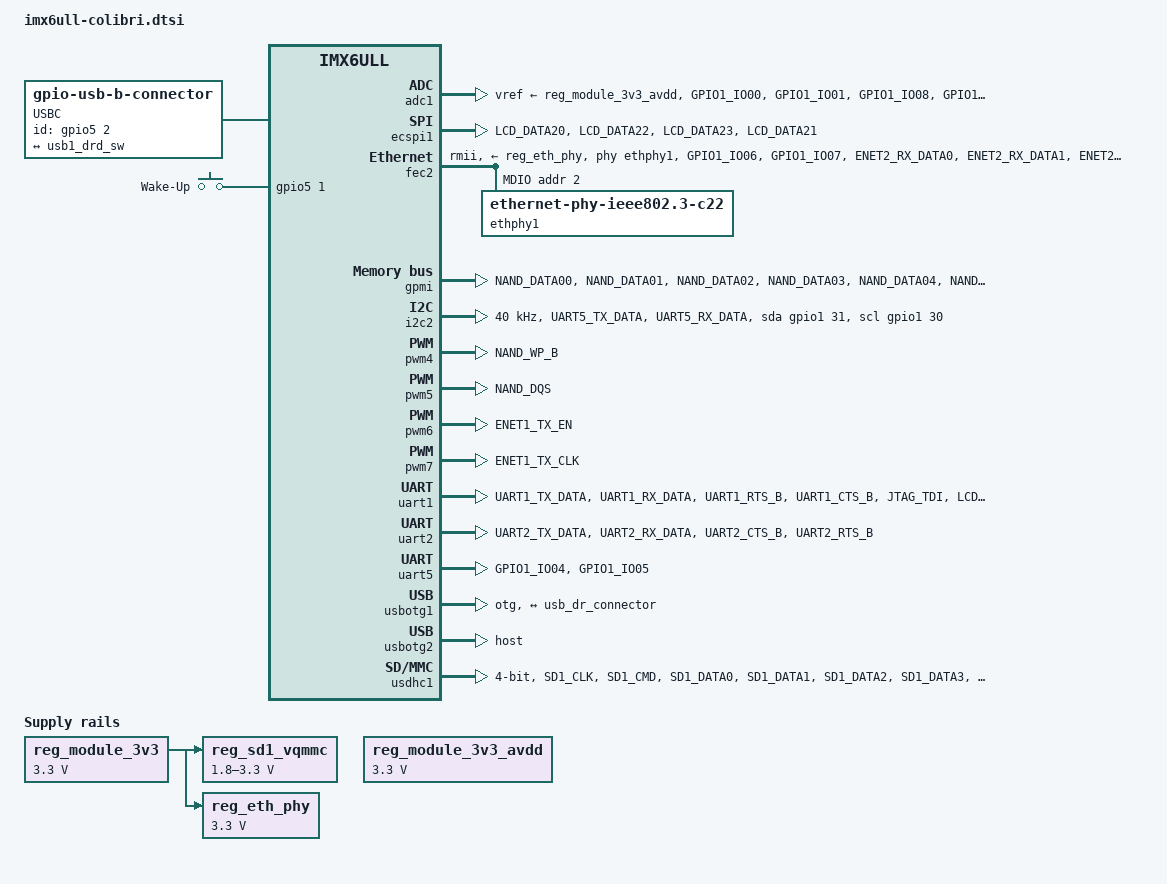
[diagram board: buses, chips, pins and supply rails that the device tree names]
// SPDX-License-Identifier: GPL-2.0-or-later OR MIT
/*
 * Copyright 2018-2022 Toradex
 */

#include "imx6ull.dtsi"

/ {
	/* Ethernet aliases to ensure correct MAC addresses */
	aliases {
		ethernet0 = &fec2;
		ethernet1 = &fec1;
	};

	backlight: backlight {
		compatible = "pwm-backlight";
		brightness-levels = <0 4 8 16 32 64 128 255>;
		default-brightness-level = <6>;
		enable-gpios = <&gpio1 11 GPIO_ACTIVE_HIGH>;
		pinctrl-names = "default";
		pinctrl-0 = <&pinctrl_gpio_bl_on>;
		power-supply = <&reg_3v3>;
		pwms = <&pwm4 0 5000000 1>;
		status = "disabled";
	};

	connector {
		compatible = "gpio-usb-b-connector", "usb-b-connector";
		pinctrl-names = "default";
		pinctrl-0 = <&pinctrl_snvs_usbc_det>;
		id-gpios = <&gpio5 2 GPIO_ACTIVE_HIGH>; /* SODIMM 137 / USBC_DET */
		label = "USBC";
		self-powered;
		type = "micro";

		ports {
			#address-cells = <1>;
			#size-cells = <0>;

			port@0 {
				reg = <0>;
				usb_dr_connector: endpoint {
					remote-endpoint = <&usb1_drd_sw>;
				};
			};
		};
	};

	gpio-keys {
		compatible = "gpio-keys";
		pinctrl-names = "default";
		pinctrl-0 = <&pinctrl_snvs_gpiokeys>;

		key-wakeup {
			debounce-interval = <10>;
			gpios = <&gpio5 1 (GPIO_ACTIVE_HIGH | GPIO_PULL_DOWN)>; /* SODIMM 45 */
			label = "Wake-Up";
			linux,code = <KEY_WAKEUP>;
			wakeup-source;
		};
	};

	panel_dpi: panel-dpi {
		compatible = "edt,et057090dhu";
		backlight = <&backlight>;
		power-supply = <&reg_3v3>;
		status = "disabled";

		port {
			lcd_panel_in: endpoint {
				remote-endpoint = <&lcdif_out>;
			};
		};
	};

	reg_module_3v3: regulator-module-3v3 {
		compatible = "regulator-fixed";
		regulator-always-on;
		regulator-name = "+V3.3";
		regulator-min-microvolt = <3300000>;
		regulator-max-microvolt = <3300000>;
	};

	reg_module_3v3_avdd: regulator-module-3v3-avdd {
		compatible = "regulator-fixed";
		regulator-always-on;
		regulator-name = "+V3.3_AVDD_AUDIO";
		regulator-min-microvolt = <3300000>;
		regulator-max-microvolt = <3300000>;
	};

	reg_sd1_vqmmc: regulator-sd1-vqmmc {
		compatible = "regulator-gpio";
		gpios = <&gpio5 9 GPIO_ACTIVE_HIGH>;
		pinctrl-names = "default";
		pinctrl-0 = <&pinctrl_snvs_reg_sd>;
		regulator-always-on;
		regulator-name = "+V3.3_1.8_SD";
		regulator-min-microvolt = <1800000>;
		regulator-max-microvolt = <3300000>;
		states = <1800000 0x1 3300000 0x0>;
		vin-supply = <&reg_module_3v3>;
	};

	reg_eth_phy: regulator-eth-phy {
		compatible = "regulator-fixed-clock";
		regulator-boot-on;
		regulator-min-microvolt = <3300000>;
		regulator-max-microvolt = <3300000>;
		regulator-name = "+V3.3_ETH";
		regulator-type = "voltage";
		vin-supply = <&reg_module_3v3>;
		clocks = <&clks IMX6UL_CLK_ENET2_REF_125M>;
		startup-delay-us = <150000>;
	};
};

&adc1 {
	vref-supply = <&reg_module_3v3_avdd>;
	pinctrl-names = "default";
	pinctrl-0 = <&pinctrl_adc1>;
};

&can1 {
	pinctrl-names = "default";
	pinctrl-0 = <&pinctrl_flexcan1>;
	status = "disabled";
};

&can2 {
	pinctrl-names = "default";
	pinctrl-0 = <&pinctrl_flexcan2>;
	status = "disabled";
};

/* Colibri SPI */
&ecspi1 {
	cs-gpios = <&gpio3 26 GPIO_ACTIVE_LOW>;
	pinctrl-names = "default";
	pinctrl-0 = <&pinctrl_ecspi1 &pinctrl_ecspi1_cs>;
};

/* Ethernet */
&fec2 {
	pinctrl-names = "default", "sleep";
	pinctrl-0 = <&pinctrl_enet2>;
	pinctrl-1 = <&pinctrl_enet2_sleep>;
	phy-mode = "rmii";
	phy-handle = <&ethphy1>;
	phy-supply = <&reg_eth_phy>;
	status = "okay";

	mdio {
		#address-cells = <1>;
		#size-cells = <0>;

		ethphy1: ethernet-phy@2 {
			compatible = "ethernet-phy-ieee802.3-c22";
			max-speed = <100>;
			reg = <2>;
		};
	};
};

/* NAND */
&gpmi {
	pinctrl-names = "default";
	pinctrl-0 = <&pinctrl_gpmi_nand>;
	fsl,use-minimum-ecc;
	nand-on-flash-bbt;
	nand-ecc-mode = "hw";
	nand-ecc-strength = <8>;
	nand-ecc-step-size = <512>;
	status = "okay";
};

/* I2C3_SDA/SCL on SODIMM 194/196 (e.g. RTC on carrier board) */
&i2c1 {
	pinctrl-names = "default", "gpio";
	pinctrl-0 = <&pinctrl_i2c1>;
	pinctrl-1 = <&pinctrl_i2c1_gpio>;
	sda-gpios = <&gpio1 29 (GPIO_ACTIVE_HIGH | GPIO_OPEN_DRAIN)>;
	scl-gpios = <&gpio1 28 (GPIO_ACTIVE_HIGH | GPIO_OPEN_DRAIN)>;
	status = "disabled";

	/* Atmel maxtouch controller */
	atmel_mxt_ts: touchscreen@4a {
		compatible = "atmel,maxtouch";
		pinctrl-names = "default";
		pinctrl-0 = <&pinctrl_atmel_conn &pinctrl_atmel_snvs_conn>;
		reg = <0x4a>;
		interrupt-parent = <&gpio5>;
		interrupts = <4 IRQ_TYPE_EDGE_FALLING>;       /* SODIMM 107 / INT */
		reset-gpios = <&gpio1 10 GPIO_ACTIVE_LOW>;    /* SODIMM 106 / RST */
		status = "disabled";
	};
};

/*
 * PWR_I2C: power I2C to audio codec, PMIC, temperature sensor and
 * touch screen controller
 */
&i2c2 {
	/* Use low frequency to compensate for the high pull-up values. */
	clock-frequency = <40000>;
	pinctrl-names = "default", "gpio";
	pinctrl-0 = <&pinctrl_i2c2>;
	pinctrl-1 = <&pinctrl_i2c2_gpio>;
	sda-gpios = <&gpio1 31 (GPIO_ACTIVE_HIGH | GPIO_OPEN_DRAIN)>;
	scl-gpios = <&gpio1 30 (GPIO_ACTIVE_HIGH | GPIO_OPEN_DRAIN)>;
	status = "okay";

	ad7879_ts: touchscreen@2c {
		compatible = "adi,ad7879-1";
		pinctrl-names = "default";
		pinctrl-0 = <&pinctrl_snvs_ad7879_int>;
		reg = <0x2c>;
		interrupt-parent = <&gpio5>;
		interrupts = <7 IRQ_TYPE_EDGE_FALLING>;
		touchscreen-max-pressure = <4096>;
		adi,resistance-plate-x = <120>;
		adi,first-conversion-delay = /bits/ 8 <3>;
		adi,acquisition-time = /bits/ 8 <1>;
		adi,median-filter-size = /bits/ 8 <2>;
		adi,averaging = /bits/ 8 <1>;
		adi,conversion-interval = /bits/ 8 <255>;
		status = "disabled";
	};
};

&lcdif {
	pinctrl-names = "default";
	pinctrl-0 = <&pinctrl_lcdif_dat
		     &pinctrl_lcdif_ctrl>;
	status = "disabled";

	port {
		lcdif_out: endpoint {
			remote-endpoint = <&lcd_panel_in>;
		};
	};
};

/* PWM <A> */
&pwm4 {
	pinctrl-names = "default";
	pinctrl-0 = <&pinctrl_pwm4>;
};

/* PWM <B> */
&pwm5 {
	pinctrl-names = "default";
	pinctrl-0 = <&pinctrl_pwm5>;
};

/* PWM <C> */
&pwm6 {
	pinctrl-names = "default";
	pinctrl-0 = <&pinctrl_pwm6>;
};

/* PWM <D> */
&pwm7 {
	pinctrl-names = "default";
	pinctrl-0 = <&pinctrl_pwm7>;
};

&sdma {
	status = "okay";
};

&snvs_pwrkey {
	status = "disabled";
};

/* Colibri UART_A */
&uart1 {
	pinctrl-names = "default";
	pinctrl-0 = <&pinctrl_uart1 &pinctrl_uart1_ctrl1>;
	uart-has-rtscts;
	fsl,dte-mode;
};

/* Colibri UART_B */
&uart2 {
	pinctrl-names = "default";
	pinctrl-0 = <&pinctrl_uart2>;
	uart-has-rtscts;
	fsl,dte-mode;
};

/* Colibri UART_C */
&uart5 {
	pinctrl-names = "default";
	pinctrl-0 = <&pinctrl_uart5>;
	fsl,dte-mode;
};

/* Colibri USBC */
&usbotg1 {
	dr_mode = "otg";
	srp-disable;
	hnp-disable;
	adp-disable;
	usb-role-switch;

	port {
		usb1_drd_sw: endpoint {
			remote-endpoint = <&usb_dr_connector>;
		};
	};
};

/* Colibri USBH */
&usbotg2 {
	dr_mode = "host";
};

/* Colibri MMC/SD */
&usdhc1 {
	pinctrl-names = "default", "state_100mhz", "state_200mhz", "sleep";
	pinctrl-0 = <&pinctrl_usdhc1 &pinctrl_snvs_usdhc1_cd>;
	pinctrl-1 = <&pinctrl_usdhc1_100mhz &pinctrl_snvs_usdhc1_cd>;
	pinctrl-2 = <&pinctrl_usdhc1_200mhz &pinctrl_snvs_usdhc1_cd>;
	pinctrl-3 = <&pinctrl_usdhc1 &pinctrl_snvs_usdhc1_cd_sleep>;
	assigned-clocks = <&clks IMX6UL_CLK_USDHC1_SEL>, <&clks IMX6UL_CLK_USDHC1>;
	assigned-clock-parents = <&clks IMX6UL_CLK_PLL2_PFD2>;
	assigned-clock-rates = <0>, <198000000>;
	bus-width = <4>;
	cd-gpios = <&gpio5 0 GPIO_ACTIVE_LOW>; /* MMC_CD */
	disable-wp;
	keep-power-in-suspend;
	no-1-8-v;
	vqmmc-supply = <&reg_sd1_vqmmc>;
	wakeup-source;
};

&wdog1 {
	pinctrl-names = "default";
	pinctrl-0 = <&pinctrl_wdog>;
	fsl,ext-reset-output;
};

&iomuxc {
	pinctrl_adc1: adc1grp {
		fsl,pins = <
			MX6UL_PAD_GPIO1_IO00__GPIO1_IO00        0x3000 /* SODIMM 8 */
			MX6UL_PAD_GPIO1_IO01__GPIO1_IO01        0x3000 /* SODIMM 6 */
			MX6UL_PAD_GPIO1_IO08__GPIO1_IO08        0x3000 /* SODIMM 4 */
			MX6UL_PAD_GPIO1_IO09__GPIO1_IO09        0x3000 /* SODIMM 2 */
		>;
	};

	pinctrl_atmel_adap: atmeladapgrp {
		fsl,pins = <
			MX6UL_PAD_NAND_DQS__GPIO4_IO16          0xb0a0  /* SODIMM 28 */
			MX6UL_PAD_ENET1_TX_EN__GPIO2_IO05       0xb0a0  /* SODIMM 30 */
		>;
	};

	pinctrl_atmel_conn: atmelconngrp {
		fsl,pins = <
			MX6UL_PAD_JTAG_MOD__GPIO1_IO10          0xb0a0  /* SODIMM 106 */
		>;
	};

	pinctrl_can_int: canintgrp {
		fsl,pins = <
			MX6UL_PAD_ENET1_TX_DATA1__GPIO2_IO04	0x13010	/* SODIMM 73 */
		>;
	};

	pinctrl_enet2: enet2grp {
		fsl,pins = <
			MX6UL_PAD_GPIO1_IO06__ENET2_MDIO	0x1b0b0
			MX6UL_PAD_GPIO1_IO07__ENET2_MDC		0x1b0b0
			MX6UL_PAD_ENET2_RX_DATA0__ENET2_RDATA00	0x1b0b0
			MX6UL_PAD_ENET2_RX_DATA1__ENET2_RDATA01	0x1b0b0
			MX6UL_PAD_ENET2_RX_EN__ENET2_RX_EN	0x1b0b0
			MX6UL_PAD_ENET2_RX_ER__ENET2_RX_ER	0x1b0b0
			MX6UL_PAD_ENET2_TX_CLK__ENET2_REF_CLK2	0x4001b031
			MX6UL_PAD_ENET2_TX_DATA0__ENET2_TDATA00	0x1b0b0
			MX6UL_PAD_ENET2_TX_DATA1__ENET2_TDATA01	0x1b0b0
			MX6UL_PAD_ENET2_TX_EN__ENET2_TX_EN	0x1b0b0
		>;
	};

	pinctrl_enet2_sleep: enet2-sleepgrp {
		fsl,pins = <
			MX6UL_PAD_GPIO1_IO06__GPIO1_IO06	0x0
			MX6UL_PAD_GPIO1_IO07__GPIO1_IO07	0x0
			MX6UL_PAD_ENET2_RX_DATA0__GPIO2_IO08	0x0
			MX6UL_PAD_ENET2_RX_DATA1__GPIO2_IO09	0x0
			MX6UL_PAD_ENET2_RX_EN__GPIO2_IO10	0x0
			MX6UL_PAD_ENET2_RX_ER__GPIO2_IO15	0x0
			MX6UL_PAD_ENET2_TX_CLK__ENET2_REF_CLK2	0x4001b031
			MX6UL_PAD_ENET2_TX_DATA0__GPIO2_IO11	0x0
			MX6UL_PAD_ENET2_TX_DATA1__GPIO2_IO12	0x0
			MX6UL_PAD_ENET2_TX_EN__GPIO2_IO13	0x0
		>;
	};

	pinctrl_ecspi1_cs: ecspi1csgrp {
		fsl,pins = <
			MX6UL_PAD_LCD_DATA21__GPIO3_IO26	0x70a0	/* SODIMM 86 */
		>;
	};

	pinctrl_ecspi1: ecspi1grp {
		fsl,pins = <
			MX6UL_PAD_LCD_DATA20__ECSPI1_SCLK	0x000a0	/* SODIMM 88 */
			MX6UL_PAD_LCD_DATA22__ECSPI1_MOSI	0x000a0 /* SODIMM 92 */
			MX6UL_PAD_LCD_DATA23__ECSPI1_MISO	0x100a0 /* SODIMM 90 */
		>;
	};

	pinctrl_flexcan1: flexcan1grp {
		fsl,pins = <
			MX6UL_PAD_ENET1_RX_DATA0__FLEXCAN1_TX	0x1b020
			MX6UL_PAD_ENET1_RX_DATA1__FLEXCAN1_RX	0x1b020
		>;
	};

	pinctrl_flexcan2: flexcan2grp {
		fsl,pins = <
			MX6UL_PAD_ENET1_TX_DATA0__FLEXCAN2_RX	0x1b020
			MX6UL_PAD_ENET1_RX_EN__FLEXCAN2_TX	0x1b020
		>;
	};

	pinctrl_gpio_bl_on: gpioblongrp {
		fsl,pins = <
			MX6UL_PAD_JTAG_TMS__GPIO1_IO11		0x30a0	/* SODIMM 71 */
		>;
	};

	pinctrl_gpio1: gpio1grp {
		fsl,pins = <
			MX6UL_PAD_UART3_RX_DATA__GPIO1_IO25	0x10b0 /* SODIMM 77 */
			MX6UL_PAD_JTAG_TCK__GPIO1_IO14		0x70a0 /* SODIMM 99 */
			MX6UL_PAD_NAND_CE1_B__GPIO4_IO14	0x10b0 /* SODIMM 133 */
			MX6UL_PAD_UART3_TX_DATA__GPIO1_IO24	0x10b0 /* SODIMM 135 */
			MX6UL_PAD_UART3_CTS_B__GPIO1_IO26	0x10b0 /* SODIMM 100 */
			MX6UL_PAD_JTAG_TRST_B__GPIO1_IO15	0x70a0 /* SODIMM 102 */
			MX6UL_PAD_ENET1_RX_ER__GPIO2_IO07	0x10b0 /* SODIMM 104 */
			MX6UL_PAD_UART3_RTS_B__GPIO1_IO27	0x10b0 /* SODIMM 186 */
		>;
	};

	pinctrl_gpio2: gpio2grp { /* Camera */
		fsl,pins = <
			MX6UL_PAD_CSI_DATA04__GPIO4_IO25	0x10b0 /* SODIMM 69 */
			MX6UL_PAD_CSI_MCLK__GPIO4_IO17		0x10b0 /* SODIMM 75 */
			MX6UL_PAD_CSI_DATA06__GPIO4_IO27	0x10b0 /* SODIMM 85 */
			MX6UL_PAD_CSI_PIXCLK__GPIO4_IO18	0x10b0 /* SODIMM 96 */
			MX6UL_PAD_CSI_DATA05__GPIO4_IO26	0x10b0 /* SODIMM 98 */
		>;
	};

	pinctrl_gpio3: gpio3grp { /* CAN2 */
		fsl,pins = <
			MX6UL_PAD_ENET1_RX_EN__GPIO2_IO02	0x10b0 /* SODIMM 178 */
			MX6UL_PAD_ENET1_TX_DATA0__GPIO2_IO03	0x10b0 /* SODIMM 188 */
		>;
	};

	pinctrl_gpio4: gpio4grp {
		fsl,pins = <
			MX6UL_PAD_CSI_DATA07__GPIO4_IO28	0x10b0 /* SODIMM 65 */
		>;
	};

	pinctrl_gpio6: gpio6grp { /* Wifi pins */
		fsl,pins = <
			MX6UL_PAD_GPIO1_IO03__GPIO1_IO03	0x10b0 /* SODIMM 89 */
			MX6UL_PAD_CSI_DATA02__GPIO4_IO23	0x10b0 /* SODIMM 79 */
			MX6UL_PAD_CSI_VSYNC__GPIO4_IO19		0x10b0 /* SODIMM 81 */
			MX6UL_PAD_CSI_DATA03__GPIO4_IO24	0x10b0 /* SODIMM 97 */
			MX6UL_PAD_CSI_DATA00__GPIO4_IO21	0x10b0 /* SODIMM 101 */
			MX6UL_PAD_CSI_DATA01__GPIO4_IO22	0x10b0 /* SODIMM 103 */
			MX6UL_PAD_CSI_HSYNC__GPIO4_IO20		0x10b0 /* SODIMM 94 */
		>;
	};

	pinctrl_gpio7: gpio7grp { /* CAN1 */
		fsl,pins = <
			MX6UL_PAD_ENET1_RX_DATA0__GPIO2_IO00	0xb0b0/* SODIMM 55 */
			MX6UL_PAD_ENET1_RX_DATA1__GPIO2_IO01	0xb0b0 /* SODIMM 63 */
		>;
	};

	/*
	 * With an eMMC instead of a raw NAND device the following pins
	 * are available at SODIMM pins.
	 */
	pinctrl_gpmi_gpio: gpmigpiogrp {
		fsl,pins = <
			MX6UL_PAD_NAND_ALE__GPIO4_IO10		0x10b0 /* SODIMM 140 */
			MX6UL_PAD_NAND_CE0_B__GPIO4_IO13	0x10b0 /* SODIMM 144 */
			MX6UL_PAD_NAND_CLE__GPIO4_IO15		0x10b0 /* SODIMM 146 */
			MX6UL_PAD_NAND_READY_B__GPIO4_IO12	0x10b0 /* SODIMM 142 */
		>;
	};

	pinctrl_gpmi_nand: gpminandgrp {
		fsl,pins = <
			MX6UL_PAD_NAND_DATA00__RAWNAND_DATA00	0x100a9
			MX6UL_PAD_NAND_DATA01__RAWNAND_DATA01	0x100a9
			MX6UL_PAD_NAND_DATA02__RAWNAND_DATA02	0x100a9
			MX6UL_PAD_NAND_DATA03__RAWNAND_DATA03	0x100a9
			MX6UL_PAD_NAND_DATA04__RAWNAND_DATA04	0x100a9
			MX6UL_PAD_NAND_DATA05__RAWNAND_DATA05	0x100a9
			MX6UL_PAD_NAND_DATA06__RAWNAND_DATA06	0x100a9
			MX6UL_PAD_NAND_DATA07__RAWNAND_DATA07	0x100a9
			MX6UL_PAD_NAND_CLE__RAWNAND_CLE		0x100a9
			MX6UL_PAD_NAND_ALE__RAWNAND_ALE		0x100a9
			MX6UL_PAD_NAND_RE_B__RAWNAND_RE_B	0x100a9
			MX6UL_PAD_NAND_WE_B__RAWNAND_WE_B	0x100a9
			MX6UL_PAD_NAND_CE0_B__RAWNAND_CE0_B	0x100a9
			MX6UL_PAD_NAND_READY_B__RAWNAND_READY_B	0x100a9
		>;
	};

	pinctrl_i2c1: i2c1grp {
		fsl,pins = <
			MX6UL_PAD_UART4_TX_DATA__I2C1_SCL 0x4001b8b0	/* SODIMM 196 */
			MX6UL_PAD_UART4_RX_DATA__I2C1_SDA 0x4001b8b0	/* SODIMM 194 */
		>;
	};

	pinctrl_i2c1_gpio: i2c1-gpiogrp {
		fsl,pins = <
			MX6UL_PAD_UART4_TX_DATA__GPIO1_IO28 0x4001b8b0	/* SODIMM 196 */
			MX6UL_PAD_UART4_RX_DATA__GPIO1_IO29 0x4001b8b0	/* SODIMM 194 */
		>;
	};

	pinctrl_i2c2: i2c2grp {
		fsl,pins = <
			MX6UL_PAD_UART5_TX_DATA__I2C2_SCL 0x4001f8b0
			MX6UL_PAD_UART5_RX_DATA__I2C2_SDA 0x4001f8b0
		>;
	};

	pinctrl_i2c2_gpio: i2c2-gpiogrp {
		fsl,pins = <
			MX6UL_PAD_UART5_TX_DATA__GPIO1_IO30 0x4001f8b0
			MX6UL_PAD_UART5_RX_DATA__GPIO1_IO31 0x4001f8b0
		>;
	};

	pinctrl_lcdif_dat: lcdifdatgrp {
		fsl,pins = <
			MX6UL_PAD_LCD_DATA00__LCDIF_DATA00 0x00079	/* SODIMM 76 */
			MX6UL_PAD_LCD_DATA01__LCDIF_DATA01 0x00079	/* SODIMM 70 */
			MX6UL_PAD_LCD_DATA02__LCDIF_DATA02 0x00079	/* SODIMM 60 */
			MX6UL_PAD_LCD_DATA03__LCDIF_DATA03 0x00079	/* SODIMM 58 */
			MX6UL_PAD_LCD_DATA04__LCDIF_DATA04 0x00079	/* SODIMM 78 */
			MX6UL_PAD_LCD_DATA05__LCDIF_DATA05 0x00079	/* SODIMM 72 */
			MX6UL_PAD_LCD_DATA06__LCDIF_DATA06 0x00079	/* SODIMM 80 */
			MX6UL_PAD_LCD_DATA07__LCDIF_DATA07 0x00079	/* SODIMM 46 */
			MX6UL_PAD_LCD_DATA08__LCDIF_DATA08 0x00079	/* SODIMM 62 */
			MX6UL_PAD_LCD_DATA09__LCDIF_DATA09 0x00079	/* SODIMM 48 */
			MX6UL_PAD_LCD_DATA10__LCDIF_DATA10 0x00079	/* SODIMM 74 */
			MX6UL_PAD_LCD_DATA11__LCDIF_DATA11 0x00079	/* SODIMM 50 */
			MX6UL_PAD_LCD_DATA12__LCDIF_DATA12 0x00079	/* SODIMM 52 */
			MX6UL_PAD_LCD_DATA13__LCDIF_DATA13 0x00079	/* SODIMM 54 */
			MX6UL_PAD_LCD_DATA14__LCDIF_DATA14 0x00079	/* SODIMM 66 */
			MX6UL_PAD_LCD_DATA15__LCDIF_DATA15 0x00079	/* SODIMM 64 */
			MX6UL_PAD_LCD_DATA16__LCDIF_DATA16 0x00079	/* SODIMM 57 */
			MX6UL_PAD_LCD_DATA17__LCDIF_DATA17 0x00079	/* SODIMM 61 */
		>;
	};

	pinctrl_lcdif_ctrl: lcdifctrlgrp {
		fsl,pins = <
			MX6UL_PAD_LCD_CLK__LCDIF_CLK	    0x00079	/* SODIMM 56 */
			MX6UL_PAD_LCD_ENABLE__LCDIF_ENABLE  0x00079	/* SODIMM 44 */
			MX6UL_PAD_LCD_HSYNC__LCDIF_HSYNC    0x00079	/* SODIMM 68 */
			MX6UL_PAD_LCD_VSYNC__LCDIF_VSYNC    0x00079	/* SODIMM 82 */
		>;
	};

	pinctrl_pwm4: pwm4grp {
		fsl,pins = <
			MX6UL_PAD_NAND_WP_B__PWM4_OUT	0x00079		/* SODIMM 59 */
		>;
	};

	pinctrl_pwm5: pwm5grp {
		fsl,pins = <
			MX6UL_PAD_NAND_DQS__PWM5_OUT	0x00079		/* SODIMM 28 */
		>;
	};

	pinctrl_pwm6: pwm6grp {
		fsl,pins = <
			MX6UL_PAD_ENET1_TX_EN__PWM6_OUT	0x00079		/* SODIMM 30 */
		>;
	};

	pinctrl_pwm7: pwm7grp {
		fsl,pins = <
			MX6UL_PAD_ENET1_TX_CLK__PWM7_OUT	0x00079	/* SODIMM 67 */
		>;
	};

	pinctrl_uart1: uart1grp {
		fsl,pins = <
			MX6UL_PAD_UART1_TX_DATA__UART1_DTE_RX	0x1b0b1	/* SODIMM 33 */
			MX6UL_PAD_UART1_RX_DATA__UART1_DTE_TX	0x1b0b1	/* SODIMM 35 */
			MX6UL_PAD_UART1_RTS_B__UART1_DTE_CTS	0x1b0b1	/* SODIMM 27 */
			MX6UL_PAD_UART1_CTS_B__UART1_DTE_RTS	0x1b0b1	/* SODIMM 25 */
		>;
	};

	pinctrl_uart1_ctrl1: uart1ctrl1grp { /* Additional DTR, DCD */
		fsl,pins = <
			MX6UL_PAD_JTAG_TDI__GPIO1_IO13		0x70a0 /* SODIMM 31 / DCD */
			MX6UL_PAD_LCD_DATA18__GPIO3_IO23	0x10b0 /* SODIMM 29 / DSR */
			MX6UL_PAD_JTAG_TDO__GPIO1_IO12		0x90b1 /* SODIMM 23 / DTR */
			MX6UL_PAD_LCD_DATA19__GPIO3_IO24        0x10b0 /* SODIMM 37 / RI */
		>;
	};

	pinctrl_uart2: uart2grp {
		fsl,pins = <
			MX6UL_PAD_UART2_TX_DATA__UART2_DTE_RX	0x1b0b1 /* SODIMM 36 */
			MX6UL_PAD_UART2_RX_DATA__UART2_DTE_TX	0x1b0b1 /* SODIMM 38 */
			MX6UL_PAD_UART2_CTS_B__UART2_DTE_RTS	0x1b0b1 /* SODIMM 32 */
			MX6UL_PAD_UART2_RTS_B__UART2_DTE_CTS	0x1b0b1 /* SODIMM 34 */
		>;
	};
	pinctrl_uart5: uart5grp {
		fsl,pins = <
			MX6UL_PAD_GPIO1_IO04__UART5_DTE_RX	0x1b0b1 /* SODIMM 19 */
			MX6UL_PAD_GPIO1_IO05__UART5_DTE_TX	0x1b0b1 /* SODIMM 21 */
		>;
	};

	pinctrl_usbh_reg: usbhreggrp {
		fsl,pins = <
			MX6UL_PAD_GPIO1_IO02__GPIO1_IO02	0x10b0 /* SODIMM 129 / USBH_PEN */
		>;
	};

	pinctrl_usdhc1: usdhc1grp {
		fsl,pins = <
			MX6UL_PAD_SD1_CLK__USDHC1_CLK		0x10059 /* SODIMM 47 */
			MX6UL_PAD_SD1_CMD__USDHC1_CMD		0x17059 /* SODIMM 190 */
			MX6UL_PAD_SD1_DATA0__USDHC1_DATA0	0x17059 /* SODIMM 192 */
			MX6UL_PAD_SD1_DATA1__USDHC1_DATA1	0x17059 /* SODIMM 49 */
			MX6UL_PAD_SD1_DATA2__USDHC1_DATA2	0x17059 /* SODIMM 51 */
			MX6UL_PAD_SD1_DATA3__USDHC1_DATA3	0x17059 /* SODIMM 53 */
		>;
	};

	pinctrl_usdhc1_100mhz: usdhc1-100mhzgrp {
		fsl,pins = <
			MX6UL_PAD_SD1_CLK__USDHC1_CLK		0x100b9
			MX6UL_PAD_SD1_CMD__USDHC1_CMD		0x170b9
			MX6UL_PAD_SD1_DATA0__USDHC1_DATA0	0x170b9
			MX6UL_PAD_SD1_DATA1__USDHC1_DATA1	0x170b9
			MX6UL_PAD_SD1_DATA2__USDHC1_DATA2	0x170b9
			MX6UL_PAD_SD1_DATA3__USDHC1_DATA3	0x170b9
		>;
	};

	pinctrl_usdhc1_200mhz: usdhc1-200mhzgrp {
		fsl,pins = <
			MX6UL_PAD_SD1_CLK__USDHC1_CLK		0x100f9
			MX6UL_PAD_SD1_CMD__USDHC1_CMD		0x170f9
			MX6UL_PAD_SD1_DATA0__USDHC1_DATA0	0x170f9
			MX6UL_PAD_SD1_DATA1__USDHC1_DATA1	0x170f9
			MX6UL_PAD_SD1_DATA2__USDHC1_DATA2	0x170f9
			MX6UL_PAD_SD1_DATA3__USDHC1_DATA3	0x170f9
		>;
	};

	pinctrl_usdhc2: usdhc2grp {
		fsl,pins = <
			MX6UL_PAD_CSI_DATA00__USDHC2_DATA0	0x17069
			MX6UL_PAD_CSI_DATA01__USDHC2_DATA1	0x17069
			MX6UL_PAD_CSI_DATA02__USDHC2_DATA2	0x17069
			MX6UL_PAD_CSI_DATA03__USDHC2_DATA3	0x17069
			MX6UL_PAD_CSI_HSYNC__USDHC2_CMD		0x17069
			MX6UL_PAD_CSI_VSYNC__USDHC2_CLK		0x10069

			MX6UL_PAD_GPIO1_IO03__OSC32K_32K_OUT	0x10
		>;
	};

	pinctrl_usdhc2emmc: usdhc2emmcgrp {
		fsl,pins = <
			MX6UL_PAD_NAND_RE_B__USDHC2_CLK     0x17059
			MX6UL_PAD_NAND_WE_B__USDHC2_CMD     0x17059
			MX6UL_PAD_NAND_DATA00__USDHC2_DATA0 0x17059
			MX6UL_PAD_NAND_DATA01__USDHC2_DATA1 0x17059
			MX6UL_PAD_NAND_DATA02__USDHC2_DATA2 0x17059
			MX6UL_PAD_NAND_DATA03__USDHC2_DATA3 0x17059
			MX6UL_PAD_NAND_DATA04__USDHC2_DATA4 0x17059
			MX6UL_PAD_NAND_DATA05__USDHC2_DATA5 0x17059
			MX6UL_PAD_NAND_DATA06__USDHC2_DATA6 0x17059
			MX6UL_PAD_NAND_DATA07__USDHC2_DATA7 0x17059
		>;
	};

	pinctrl_wdog: wdoggrp {
		fsl,pins = <
			MX6UL_PAD_LCD_RESET__WDOG1_WDOG_ANY    0x30b0
		>;
	};
};

&iomuxc_snvs {
	pinctrl_atmel_snvs_conn: atmelsnvsconngrp {
		fsl,pins = <
			MX6ULL_PAD_SNVS_TAMPER4__GPIO5_IO04     0xb0a0	/* SODIMM 107 */
		>;
	};

	pinctrl_snvs_gpio1: snvsgpio1grp {
		fsl,pins = <
			MX6ULL_PAD_SNVS_TAMPER6__GPIO5_IO06	0x110a0	/* SODIMM 93 */
			MX6ULL_PAD_SNVS_TAMPER3__GPIO5_IO03	0x110a0	/* SODIMM 95 */
			MX6ULL_PAD_BOOT_MODE0__GPIO5_IO10	0x1b0a0	/* SODIMM 105 */
			MX6ULL_PAD_SNVS_TAMPER5__GPIO5_IO05	0x0b0a0	/* SODIMM 131 / USBH_OC */
			MX6ULL_PAD_SNVS_TAMPER8__GPIO5_IO08	0x110a0	/* SODIMM 138 */
		>;
	};

	pinctrl_snvs_gpio3: snvsgpio3grp { /* Wifi pins */
		fsl,pins = <
			MX6ULL_PAD_BOOT_MODE1__GPIO5_IO11	0x130a0	/* SODIMM 127 */
		>;
	};

	pinctrl_snvs_ad7879_int: snvsad7879intgrp { /* TOUCH Interrupt */
		fsl,pins = <
			MX6ULL_PAD_SNVS_TAMPER7__GPIO5_IO07	0x100b0
		>;
	};

	pinctrl_snvs_reg_sd: snvsregsdgrp {
		fsl,pins = <
			MX6ULL_PAD_SNVS_TAMPER9__GPIO5_IO09	0x400100b0
		>;
	};

	pinctrl_snvs_usbc_det: snvsusbcdetgrp {
		fsl,pins = <
			MX6ULL_PAD_SNVS_TAMPER2__GPIO5_IO02	0x130b0
		>;
	};

	pinctrl_snvs_gpiokeys: snvsgpiokeysgrp {
		fsl,pins = <
			MX6ULL_PAD_SNVS_TAMPER1__GPIO5_IO01	0x130a0	/* SODIMM 45 / WAKE_UP */
		>;
	};

	pinctrl_snvs_usdhc1_cd: snvsusdhc1cdgrp {
		fsl,pins = <
			MX6ULL_PAD_SNVS_TAMPER0__GPIO5_IO00	0x1b0a0 /* SODIMM 43 / MMC_CD */
		>;
	};

	pinctrl_snvs_usdhc1_cd_sleep: snvsusdhc1cd-sleepgrp {
		fsl,pins = <
			MX6ULL_PAD_SNVS_TAMPER0__GPIO5_IO00	0x0
		>;
	};

	pinctrl_snvs_wifi_pdn: snvswifipdngrp {
		fsl,pins = <
			MX6ULL_PAD_BOOT_MODE1__GPIO5_IO11	0x130a0
		>;
	};
};
